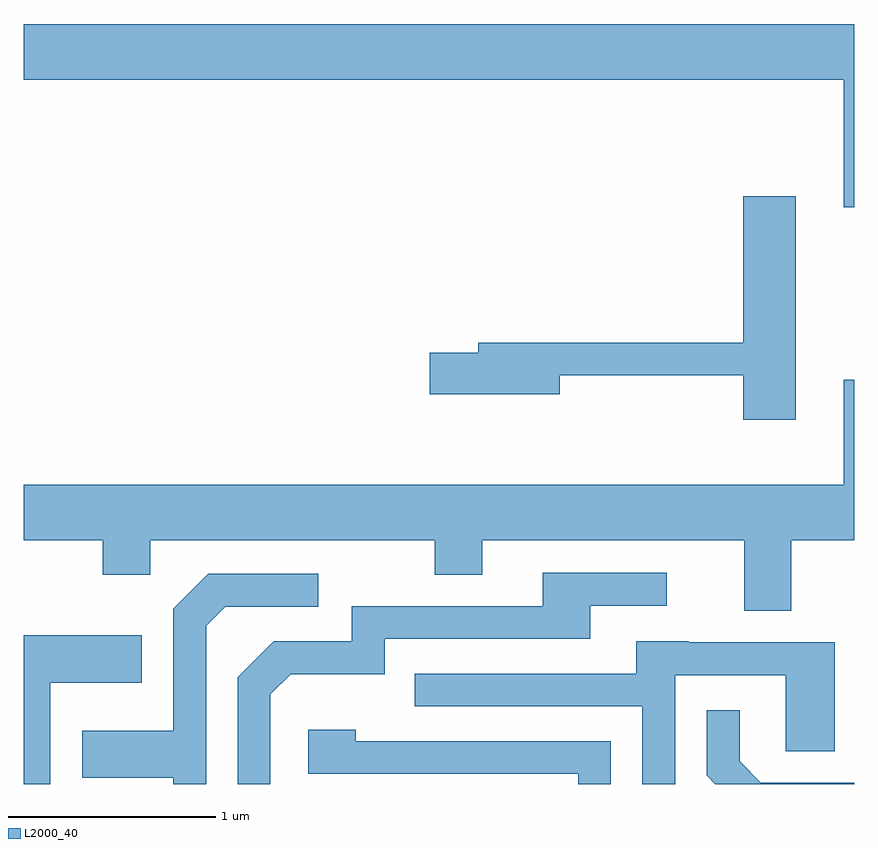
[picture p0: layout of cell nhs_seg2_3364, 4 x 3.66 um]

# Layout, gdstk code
import gdstk
lib = gdstk.Library(unit=1e-6, precision=1e-09)
def P(c, l, *ps):  # polygons
    for p in ps: c.add(gdstk.Polygon(p, *l))
L2000_40 = (2000, 40)

nhs_seg2_3364 = lib.new_cell('nhs_seg2_3364')
P(nhs_seg2_3364, L2000_40, [(287.611,1057.464),(283.611,1057.464),(283.611,1057.196),(287.561,1057.196),(287.561,1056.581),(287.611,1056.581)],
  [(287.329,1056.634),(287.076,1056.634),(287.076,1055.929),(285.801,1055.929),(285.801,1055.879),(285.566,1055.879),(285.566,1055.681),(286.194,1055.681),(286.194,1055.771),(287.076,1055.771),(287.076,1055.556),(287.329,1055.556)],
  [(287.309,1054.976),(287.611,1054.976),(287.611,1055.749),(287.561,1055.749),(287.561,1055.244),(283.611,1055.244),(283.611,1054.976),(283.991,1054.976),(283.991,1054.811),(284.219,1054.811),(284.219,1054.976),(285.591,1054.976),(285.591,1054.811),(285.819,1054.811),(285.819,1054.976),(287.081,1054.976),(287.081,1054.636),(287.309,1054.636)],
  [(284.799,1054.234),(284.897,1054.331),(285.349,1054.331),(285.349,1054.501),(286.339,1054.501),(286.339,1054.661),(286.708,1054.661),(286.708,1054.819),(286.111,1054.819),(286.111,1054.659),(285.191,1054.659),(285.191,1054.489),(284.814,1054.489),(284.641,1054.317),(284.641,1053.802),(284.799,1053.802)],
  [(284.489,1054.564),(284.582,1054.656),(285.028,1054.656),(285.028,1054.814),(284.499,1054.814),(284.331,1054.647),(284.331,1054.059),(283.891,1054.059),(283.891,1053.831),(284.331,1053.831),(284.331,1053.802),(284.489,1053.802)],
  [(283.739,1054.291),(284.179,1054.291),(284.179,1054.519),(283.611,1054.519),(283.611,1053.802),(283.739,1053.802)],
  [(286.749,1054.326),(287.281,1054.326),(287.281,1053.961),(287.519,1053.961),(287.519,1054.484),(286.815,1054.484),(286.815,1054.489),(286.561,1054.489),(286.561,1054.334),(285.493,1054.334),(285.493,1054.176),(286.591,1054.176),(286.591,1053.802),(286.749,1053.802)],
  [(287.611,1053.809),(287.162,1053.809),(287.059,1053.912),(287.059,1054.158),(286.901,1054.158),(286.901,1053.844),(286.943,1053.802),(287.611,1053.802)],
  [(286.439,1054.009),(285.209,1054.009),(285.209,1054.064),(284.981,1054.064),(284.981,1053.851),(286.281,1053.851),(286.281,1053.802),(286.439,1053.802)])

lib.write_gds('nhs_seg2_3364.gds')
